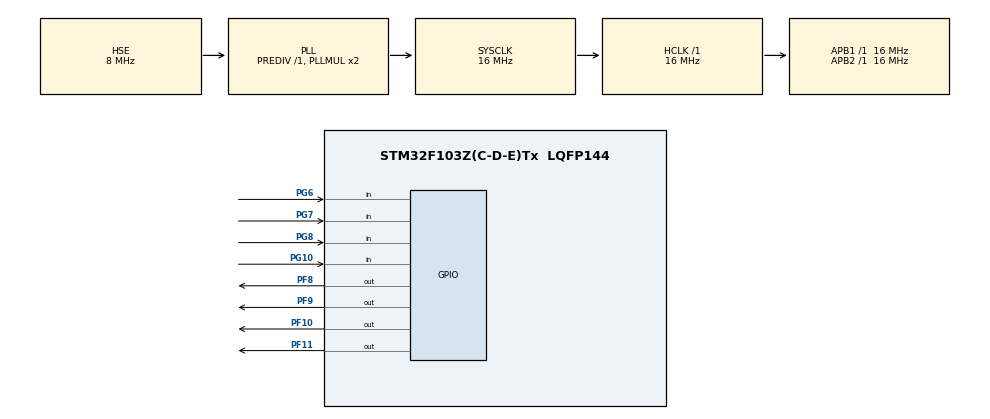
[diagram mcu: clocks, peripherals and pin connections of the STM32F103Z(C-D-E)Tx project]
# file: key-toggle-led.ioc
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Mcu.Family=STM32F1
Mcu.Name=STM32F103Z(C-D-E)Tx
Mcu.Package=LQFP144
NVIC.PriorityGroup=NVIC_PRIORITYGROUP_4
OSC_IN.Mode=HSE-External-Oscillator
OSC_IN.Signal=RCC_OSC_IN
OSC_OUT.Mode=HSE-External-Oscillator
OSC_OUT.Signal=RCC_OSC_OUT
PA13.Mode=Serial_Wire
PA13.Signal=SYS_JTMS-SWDIO
PA14.Mode=Serial_Wire
PA14.Signal=SYS_JTCK-SWCLK
PF10.GPIO_ModeDefaultOutputPP=GPIO_MODE_OUTPUT_OD
PF10.GPIO_PuPd=GPIO_NOPULL
PF10.PinState=GPIO_PIN_SET
PF10.Signal=GPIO_Output
PF11.GPIO_ModeDefaultOutputPP=GPIO_MODE_OUTPUT_OD
PF11.GPIO_PuPd=GPIO_NOPULL
PF11.PinState=GPIO_PIN_SET
PF11.Signal=GPIO_Output
PF8.GPIO_ModeDefaultOutputPP=GPIO_MODE_OUTPUT_OD
PF8.GPIO_PuPd=GPIO_NOPULL
PF8.PinState=GPIO_PIN_SET
PF8.Signal=GPIO_Output
PF9.GPIO_ModeDefaultOutputPP=GPIO_MODE_OUTPUT_OD
PF9.GPIO_PuPd=GPIO_NOPULL
PF9.PinState=GPIO_PIN_SET
PF9.Signal=GPIO_Output
PG10.Signal=GPIO_Input
PG6.Signal=GPIO_Input
PG7.Signal=GPIO_Input
PG8.Signal=GPIO_Input
ProjectManager.HeapSize=0x200
ProjectManager.StackSize=0x400
ProjectManager.TargetToolchain=MDK-ARM V5.32
RCC.AHBFreq_Value=16000000
RCC.APB1Freq_Value=16000000
RCC.APB1TimFreq_Value=16000000
RCC.APB2Freq_Value=16000000
RCC.APB2TimFreq_Value=16000000
RCC.HCLKFreq_Value=16000000
RCC.PLLSourceVirtual=RCC_PLLSOURCE_HSE
RCC.SYSCLKFreq_VALUE=16000000
RCC.SYSCLKSource=RCC_SYSCLKSOURCE_PLLCLK
RCC.USBFreq_Value=16000000
board=custom

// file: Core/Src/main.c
/* USER CODE BEGIN Header */
/**
  ******************************************************************************
  * @file           : main.c
  * @brief          : Main program body
  ******************************************************************************
  * @attention
  *
  * Copyright (c) 2026 STMicroelectronics.
  * All rights reserved.
  *
  * This software is licensed under terms that can be found in the LICENSE file
  * in the root directory of this software component.
  * If no LICENSE file comes with this software, it is provided AS-IS.
  *
  ******************************************************************************
  */
/* USER CODE END Header */
#include "main.h"

/* USER CODE BEGIN Includes */
#include <stdbool.h>
/* USER CODE END Includes */

/* USER CODE BEGIN PV */
typedef enum{
  LED1 = 1,
  LED2 ,
  LED3 ,
  LED4
}LEDS;

typedef enum{
  KEY1 = 1,
  KEY2 ,
  KEY3 ,
  KEY4
}KEYS;

/* USER CODE END PV */

void SystemClock_Config(void);
static void MX_GPIO_Init(void);
/* USER CODE BEGIN PFP */
void BSP_LED_On(LEDS led);
void BSP_LED_Off(LEDS led);
bool BSP_Key_Ispressed(KEYS key);
void BSP_LED_Toggle(LEDS led);
bool BSP_Key_Ispressed_debounce(KEYS key);
/* USER CODE END PFP */

int main(void)
{

  /* MCU Configuration--------------------------------------------------------*/

  /* Reset of all peripherals, Initializes the Flash interface and the Systick. */
  HAL_Init();

  /* Configure the system clock */
  SystemClock_Config();

  /* Initialize all configured peripherals */
  MX_GPIO_Init();

  /* Infinite loop */
  /* USER CODE BEGIN WHILE */
  while (1)
  {
    if(BSP_Key_Ispressed_debounce(KEY1))
    {
      BSP_LED_Toggle(LED1);
    }
    if(BSP_Key_Ispressed_debounce(KEY2))
    {
      BSP_LED_Toggle(LED2);
    }
    if(BSP_Key_Ispressed_debounce(KEY3))
    {
      BSP_LED_Toggle(LED3);
    }
    if(BSP_Key_Ispressed_debounce(KEY4))
    {
      BSP_LED_Toggle(LED4);
    }
    /* USER CODE END WHILE */

  }
}

void SystemClock_Config(void)
{
  RCC_OscInitTypeDef RCC_OscInitStruct = {0};
  RCC_ClkInitTypeDef RCC_ClkInitStruct = {0};

  /** Initializes the RCC Oscillators according to the specified parameters
  * in the RCC_OscInitTypeDef structure.
  */
  RCC_OscInitStruct.OscillatorType = RCC_OSCILLATORTYPE_HSE;
  RCC_OscInitStruct.HSEState = RCC_HSE_ON;
  RCC_OscInitStruct.HSEPredivValue = RCC_HSE_PREDIV_DIV1;
  RCC_OscInitStruct.HSIState = RCC_HSI_ON;
  RCC_OscInitStruct.PLL.PLLState = RCC_PLL_ON;
  RCC_OscInitStruct.PLL.PLLSource = RCC_PLLSOURCE_HSE;
  RCC_OscInitStruct.PLL.PLLMUL = RCC_PLL_MUL2;
  if (HAL_RCC_OscConfig(&RCC_OscInitStruct) != HAL_OK)
  {
    Error_Handler();
  }

  /** Initializes the CPU, AHB and APB buses clocks
  */
  RCC_ClkInitStruct.ClockType = RCC_CLOCKTYPE_HCLK|RCC_CLOCKTYPE_SYSCLK
                              |RCC_CLOCKTYPE_PCLK1|RCC_CLOCKTYPE_PCLK2;
  RCC_ClkInitStruct.SYSCLKSource = RCC_SYSCLKSOURCE_PLLCLK;
  RCC_ClkInitStruct.AHBCLKDivider = RCC_SYSCLK_DIV1;
  RCC_ClkInitStruct.APB1CLKDivider = RCC_HCLK_DIV1;
  RCC_ClkInitStruct.APB2CLKDivider = RCC_HCLK_DIV1;

  if (HAL_RCC_ClockConfig(&RCC_ClkInitStruct, FLASH_LATENCY_0) != HAL_OK)
  {
    Error_Handler();
  }
}

static void MX_GPIO_Init(void)
{
  GPIO_InitTypeDef GPIO_InitStruct = {0};

  /* GPIO Ports Clock Enable */
  __HAL_RCC_GPIOF_CLK_ENABLE();
  __HAL_RCC_GPIOG_CLK_ENABLE();
  __HAL_RCC_GPIOA_CLK_ENABLE();

  /*Configure GPIO pin Output Level */
  HAL_GPIO_WritePin(GPIOF, GPIO_PIN_8|GPIO_PIN_9|GPIO_PIN_10|GPIO_PIN_11, GPIO_PIN_SET);

  /*Configure GPIO pins : PF8 PF9 PF10 PF11 */
  GPIO_InitStruct.Pin = GPIO_PIN_8|GPIO_PIN_9|GPIO_PIN_10|GPIO_PIN_11;
  GPIO_InitStruct.Mode = GPIO_MODE_OUTPUT_OD;
  GPIO_InitStruct.Pull = GPIO_NOPULL;
  GPIO_InitStruct.Speed = GPIO_SPEED_FREQ_LOW;
  HAL_GPIO_Init(GPIOF, &GPIO_InitStruct);

  /*Configure GPIO pins : PG6 PG7 PG8 PG10 */
  GPIO_InitStruct.Pin = GPIO_PIN_6|GPIO_PIN_7|GPIO_PIN_8|GPIO_PIN_10;
  GPIO_InitStruct.Mode = GPIO_MODE_INPUT;
  GPIO_InitStruct.Pull = GPIO_NOPULL;
  HAL_GPIO_Init(GPIOG, &GPIO_InitStruct);

}

/* USER CODE BEGIN 4 */

void BSP_LED_Control(uint16_t gpio_pin , bool light)
{
  GPIO_PinState status = light ? GPIO_PIN_RESET : GPIO_PIN_SET;
  HAL_GPIO_WritePin(GPIOF , gpio_pin , status);
}

void BSP_LED_On(LEDS led)
{
  switch (led)
  {
  case LED1:
    BSP_LED_Control(GPIO_PIN_8 , true);
    break;
  case LED2:
    BSP_LED_Control(GPIO_PIN_9 , true);
    break;
  case LED3:
    BSP_LED_Control(GPIO_PIN_10 , true);
    break;
  case LED4:
    BSP_LED_Control(GPIO_PIN_11 , true);
    break;
  default:
    break;
  }
}

void BSP_LED_Off(LEDS led)
{
  switch (led)
  {
  case LED1:
    BSP_LED_Control(GPIO_PIN_8 , false);
    break;
  case LED2:
    BSP_LED_Control(GPIO_PIN_9 , false);
    break;
  case LED3:
    BSP_LED_Control(GPIO_PIN_10 , false);
    break;
  case LED4:
    BSP_LED_Control(GPIO_PIN_11 , false);
    break;
  default:
    break;
  }
}

void BSP_LED_Toggle(LEDS led)
{
  switch (led)
  {
  case LED1:
    HAL_GPIO_TogglePin(GPIOF , GPIO_PIN_8);
    break;
  case LED2:
    HAL_GPIO_TogglePin(GPIOF , GPIO_PIN_9);
    break;
  case LED3:
    HAL_GPIO_TogglePin(GPIOF , GPIO_PIN_10);
    break;
  case LED4:
    HAL_GPIO_TogglePin(GPIOF , GPIO_PIN_11);
    break;
  default:
    break;
  }
}

bool BSP_Key_Ispressed_debounce(KEYS key)
{
  bool ret = false;
  uint16_t pin = 0;
  switch (key)
  {
  case KEY1:
    pin = GPIO_PIN_10;
    break;
  case KEY2:
    pin = GPIO_PIN_6;
    break;
  case KEY3:
    pin = GPIO_PIN_8;
    break;
  case KEY4:
    pin = GPIO_PIN_7;
    break;
  default:
    break;
  }

  if(HAL_GPIO_ReadPin(GPIOG , pin) == GPIO_PIN_RESET)
  {
    // 防抖动
    HAL_Delay(30);
    ret = HAL_GPIO_ReadPin(GPIOG , pin) == GPIO_PIN_RESET;
    while(HAL_GPIO_ReadPin(GPIOG , pin) == GPIO_PIN_RESET)
      ;
  }
  return ret;
}

bool BSP_Key_Ispressed(KEYS key)
{
  bool ret = false;
  switch (key)
  {
  case KEY1:
      ret = HAL_GPIO_ReadPin(GPIOG , GPIO_PIN_10) == GPIO_PIN_RESET;
    break;
  case KEY2:
      ret = HAL_GPIO_ReadPin(GPIOG , GPIO_PIN_6) == GPIO_PIN_RESET;
    break;
  case KEY3:
    ret = HAL_GPIO_ReadPin(GPIOG , GPIO_PIN_8) == GPIO_PIN_RESET;
    break;
  case KEY4:
    ret = HAL_GPIO_ReadPin(GPIOG , GPIO_PIN_7) == GPIO_PIN_RESET;
    break;
  default:
    break;
  }
  return ret;
}

/* USER CODE END 4 */

void Error_Handler(void)
{
  __disable_irq();
  while (1)
  {
  }
}
